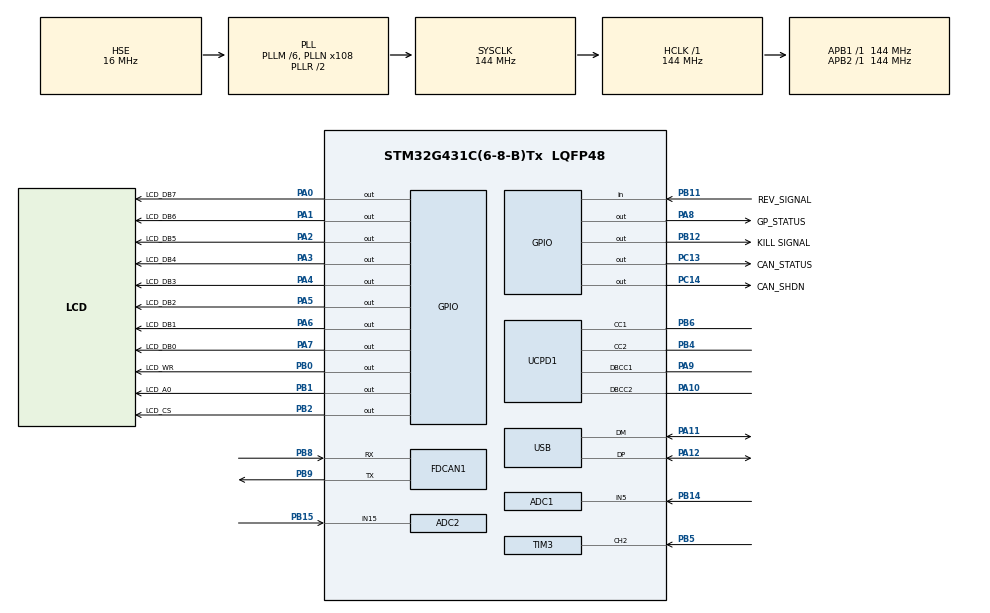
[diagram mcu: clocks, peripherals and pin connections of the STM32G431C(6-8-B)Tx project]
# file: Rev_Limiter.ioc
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ADC1.Channel-1\#ChannelRegularConversion=ADC_CHANNEL_5
ADC1.DMAContinuousRequests=ENABLE
ADC1.ExternalTrigConv=ADC_EXTERNALTRIG_T6_TRGO
ADC1.NbrOfConversionFlag=1
ADC1.OffsetNumber-1\#ChannelRegularConversion=ADC_OFFSET_NONE
ADC1.Rank-1\#ChannelRegularConversion=1
ADC1.SamplingTime-1\#ChannelRegularConversion=ADC_SAMPLETIME_2CYCLES_5
ADC1.master=1
ADC2.Channel-3\#ChannelRegularConversion=ADC_CHANNEL_15
ADC2.DMAContinuousRequests=ENABLE
ADC2.ExternalTrigConv=ADC_EXTERNALTRIG_T6_TRGO
ADC2.NbrOfConversionFlag=1
ADC2.OffsetNumber-3\#ChannelRegularConversion=ADC_OFFSET_NONE
ADC2.Rank-3\#ChannelRegularConversion=1
ADC2.SamplingTime-3\#ChannelRegularConversion=ADC_SAMPLETIME_2CYCLES_5
Dma.ADC1.0.Direction=DMA_PERIPH_TO_MEMORY
Dma.ADC1.0.EventEnable=DISABLE
Dma.ADC1.0.Instance=DMA1_Channel1
Dma.ADC1.0.MemDataAlignment=DMA_MDATAALIGN_HALFWORD
Dma.ADC1.0.MemInc=DMA_MINC_ENABLE
Dma.ADC1.0.Mode=DMA_CIRCULAR
Dma.ADC1.0.PeriphDataAlignment=DMA_PDATAALIGN_HALFWORD
Dma.ADC1.0.PeriphInc=DMA_PINC_DISABLE
Dma.ADC1.0.Polarity=HAL_DMAMUX_REQ_GEN_RISING
Dma.ADC1.0.Priority=DMA_PRIORITY_LOW
Dma.ADC1.0.RequestNumber=1
Dma.ADC1.0.SignalID=NONE
Dma.ADC1.0.SyncEnable=DISABLE
Dma.ADC1.0.SyncPolarity=HAL_DMAMUX_SYNC_NO_EVENT
Dma.ADC1.0.SyncRequestNumber=1
Dma.ADC1.0.SyncSignalID=NONE
Dma.ADC2.1.Direction=DMA_PERIPH_TO_MEMORY
Dma.ADC2.1.EventEnable=DISABLE
Dma.ADC2.1.Instance=DMA1_Channel2
Dma.ADC2.1.MemDataAlignment=DMA_MDATAALIGN_HALFWORD
Dma.ADC2.1.MemInc=DMA_MINC_ENABLE
Dma.ADC2.1.Mode=DMA_CIRCULAR
Dma.ADC2.1.PeriphDataAlignment=DMA_PDATAALIGN_HALFWORD
Dma.ADC2.1.PeriphInc=DMA_PINC_DISABLE
Dma.ADC2.1.Polarity=HAL_DMAMUX_REQ_GEN_RISING
Dma.ADC2.1.Priority=DMA_PRIORITY_LOW
Dma.ADC2.1.RequestNumber=1
Dma.ADC2.1.SignalID=NONE
Dma.ADC2.1.SyncEnable=DISABLE
Dma.ADC2.1.SyncPolarity=HAL_DMAMUX_SYNC_NO_EVENT
Dma.ADC2.1.SyncRequestNumber=1
Dma.ADC2.1.SyncSignalID=NONE
Dma.Request0=ADC1
Dma.Request1=ADC2
FDCAN1.CalculateBaudRateNominal=2999999
FDCAN1.CalculateTimeBitNominal=333
FDCAN1.CalculateTimeQuantumNominal=111.11111111111111
Mcu.Family=STM32G4
Mcu.Name=STM32G431C(6-8-B)Tx
Mcu.Package=LQFP48
NVIC.DMA1_Channel1_IRQn=true\:0\:0\:false\:false\:true\:false\:true\:true
NVIC.DMA1_Channel2_IRQn=true\:0\:0\:false\:false\:true\:false\:true\:true
NVIC.PriorityGroup=NVIC_PRIORITYGROUP_4
NVIC.TIM3_IRQn=true\:0\:0\:false\:false\:true\:true\:true\:true
PA0.GPIO_Label=LCD_DB7
PA0.Signal=GPIO_Output
PA1.GPIO_Label=LCD_DB6
PA1.Signal=GPIO_Output
PA10.Mode=EnableDeadBattery
PA10.Signal=UCPD1_DBCC2
PA11.Mode=Device
PA11.Signal=USB_DM
PA12.Mode=Device
PA12.Signal=USB_DP
PA13.Mode=Trace_Asynchronous_SW
PA13.Signal=SYS_JTMS-SWDIO
PA14.Mode=Trace_Asynchronous_SW
PA14.Signal=SYS_JTCK-SWCLK
PA2.GPIO_Label=LCD_DB5
PA2.Signal=GPIO_Output
PA3.GPIO_Label=LCD_DB4
PA3.Signal=GPIO_Output
PA4.GPIO_Label=LCD_DB3
PA4.Signal=GPIO_Output
PA5.GPIO_Label=LCD_DB2
PA5.Signal=GPIO_Output
PA6.GPIO_Label=LCD_DB1
PA6.Signal=GPIO_Output
PA7.GPIO_Label=LCD_DB0
PA7.Signal=GPIO_Output
PA8.GPIO_Label=GP_STATUS
PA8.Signal=GPIO_Output
PA9.Mode=EnableDeadBattery
PA9.Signal=UCPD1_DBCC1
PB0.GPIO_Label=LCD_WR
PB0.Signal=GPIO_Output
PB1.GPIO_Label=LCD_A0
PB1.Signal=GPIO_Output
PB11.GPIO_Label=REV_SIGNAL
PB11.Signal=GPIO_Input
PB12.GPIO_Label=KILL SIGNAL
PB12.Signal=GPIO_Output
PB14.Mode=IN5-Single-Ended
PB14.Signal=ADC1_IN5
PB15.Mode=IN15-Single-Ended
PB15.Signal=ADC2_IN15
PB2.GPIO_Label=LCD_CS
PB2.Signal=GPIO_Output
PB3.Mode=Trace_Asynchronous_SW
PB3.Signal=SYS_JTDO-SWO
PB4.Mode=Sink_AllSignals
PB4.Signal=UCPD1_CC2
PB5.Signal=S_TIM3_CH2
PB6.Mode=Sink_AllSignals
PB6.Signal=UCPD1_CC1
PB8-BOOT0.Mode=FDCAN_Activate
PB8-BOOT0.Signal=FDCAN1_RX
PB9.Mode=FDCAN_Activate
PB9.Signal=FDCAN1_TX
PC13.GPIO_Label=CAN_STATUS
PC13.Signal=GPIO_Output
PC14-OSC32_IN.GPIO_Label=CAN_SHDN
PC14-OSC32_IN.Signal=GPIO_Output
PF0-OSC_IN.Mode=HSE-External-Oscillator
PF0-OSC_IN.Signal=RCC_OSC_IN
PF1-OSC_OUT.Mode=HSE-External-Oscillator
PF1-OSC_OUT.Signal=RCC_OSC_OUT
ProjectManager.HeapSize=0x200
ProjectManager.StackSize=0x400
ProjectManager.TargetToolchain=STM32CubeIDE
RCC.ADC12Freq_Value=144000000
RCC.AHBFreq_Value=144000000
RCC.APB1Freq_Value=144000000
RCC.APB1TimFreq_Value=144000000
RCC.APB2Freq_Value=144000000
RCC.APB2TimFreq_Value=144000000
RCC.CortexFreq_Value=144000000
RCC.EXTERNAL_CLOCK_VALUE=12288000
RCC.HCLKFreq_Value=144000000
RCC.HSE_VALUE=16000000
RCC.HSI48_VALUE=48000000
RCC.HSI_VALUE=16000000
RCC.LSE_VALUE=32768
RCC.PLLM=RCC_PLLM_DIV6
RCC.PLLN=108
RCC.PLLQ=RCC_PLLQ_DIV6
RCC.PLLSourceVirtual=RCC_PLLSOURCE_HSE
RCC.SYSCLKFreq_VALUE=144000000
RCC.SYSCLKSource=RCC_SYSCLKSOURCE_PLLCLK
RCC.USBFreq_Value=48000000
RCC.VCOOutputFreq_Value=288000000
SH.S_TIM3_CH2.0=TIM3_CH2,Input_Capture2_from_TI2
TIM3.Channel-Input_Capture2_from_TI2=TIM_CHANNEL_2
TIM3.ICFilter_CH2=8
TIM3.ICPolarity_CH2=TIM_INPUTCHANNELPOLARITY_FALLING
TIM3.PeriodNoDither=65535
TIM3.Prescaler=1439
TIM3.TIM_MasterOutputTrigger=TIM_TRGO_UPDATE
TIM6.PeriodNoDither=3999
TIM6.Prescaler=14399
TIM6.TIM_MasterOutputTrigger=TIM_TRGO_UPDATE
VP_SYS_VS_DBSignals.Mode=DisableDeadBatterySignals
VP_TIM3_VS_ClockSourceINT.Mode=Internal
VP_TIM6_VS_ClockSourceINT.Mode=Enable_Timer
board=custom

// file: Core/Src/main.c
/* USER CODE BEGIN Header */
/**
  ******************************************************************************
  * @file           : main.c
  * @brief          : Main program body
  ******************************************************************************
  * @attention
  *
  * Copyright (c) 2026 STMicroelectronics.
  * All rights reserved.
  *
  * This software is licensed under terms that can be found in the LICENSE file
  * in the root directory of this software component.
  * If no LICENSE file comes with this software, it is provided AS-IS.
  *
  ******************************************************************************
  * @author Ashwin Thomas
  */
/* USER CODE END Header */
#include "main.h"

/* USER CODE BEGIN Includes */
#include <st7565_8080.h>
#include "st7565_gfx.h"
#include "battery_level_filter.h"
#include "fuel_level_filter.h"
#include "Rev_Counter.h"
/* USER CODE END Includes */

ADC_HandleTypeDef hadc1;
ADC_HandleTypeDef hadc2;
DMA_HandleTypeDef hdma_adc1;
DMA_HandleTypeDef hdma_adc2;

FDCAN_HandleTypeDef hfdcan1;

TIM_HandleTypeDef htim3;
TIM_HandleTypeDef htim6;

PCD_HandleTypeDef hpcd_USB_FS;

/* USER CODE BEGIN PV */
uint16_t fuel_level;
uint16_t fuel_bars;
uint16_t battery_level;
uint8_t battery_bars;
uint32_t engine_rpm;
/* USER CODE END PV */

void SystemClock_Config(void);
static void MX_GPIO_Init(void);
static void MX_DMA_Init(void);
static void MX_ADC1_Init(void);
static void MX_FDCAN1_Init(void);
static void MX_USB_PCD_Init(void);
static void MX_ADC2_Init(void);
static void MX_UCPD1_Init(void);
static void MX_TIM3_Init(void);
static void MX_TIM6_Init(void);

int main(void)
{

  /* USER CODE BEGIN 1 */
  SCB->VTOR = FLASH_BASE + 0x0; // set to your app's actual flash start offset
  /* USER CODE END 1 */

  /* MCU Configuration--------------------------------------------------------*/

  /* Reset of all peripherals, Initializes the Flash interface and the Systick. */
  HAL_Init();

  /* Configure the system clock */
  SystemClock_Config();

  /* Initialize all configured peripherals */
  MX_GPIO_Init();
  MX_DMA_Init();
  MX_ADC1_Init();
  MX_FDCAN1_Init();
  MX_USB_PCD_Init();
  MX_ADC2_Init();
  MX_UCPD1_Init();
  MX_TIM3_Init();
  MX_TIM6_Init();
  /* USER CODE BEGIN 2 */
  /* ADC2 must be armed before TIM6 begins issuing TRGO events. */
  BatterySensor_Init();
  FuelSensor_Init();
  /* TIM3 CH2 is PB5, configured in CubeMX for falling-edge input capture. */
  if (RevCounter_Start(&htim3, TIM_CHANNEL_2) != HAL_OK) {
    Error_Handler();
  }
  /* Display must be initialized after gpio because gpio gets reinitialized. */
  ST7565_Init(0x00);   // bus init + panel init; 0x00 is a starting contrast value, tune to taste
  uint32_t last_poll_tick = HAL_GetTick();
  uint32_t last_update_tick = HAL_GetTick();
  uint32_t last_display_tick = HAL_GetTick();
  /* USER CODE END 2 */

  /* Infinite loop */
  /* USER CODE BEGIN WHILE */
  HAL_GPIO_WritePin(GPIOA, GPIO_PIN_8, GPIO_PIN_RESET);
  HAL_GPIO_WritePin(GPIOA, GPIO_PIN_9, GPIO_PIN_RESET);
  //HAL_GPIO_WritePin(GPIOB, GPIO_PIN_12, GPIO_PIN_SET);
  //HAL_Delay(500);
  while (1)
  {
	  uint32_t now = HAL_GetTick();
	  RevCounter_Update(now);
	  engine_rpm = RevCounter_GetRPM();
	  // Poll raw ADC sample at ADC_SAMPLE_HZ
	  if (now - last_poll_tick >= (1000 / ADC_SAMPLE_HZ)) {
		  last_poll_tick = now;
		  FuelSensor_PollRawSample();
		  BatterySensor_PollRawSample();
		  // One toggle per completed poll makes this visible on an LED.
		  //HAL_GPIO_TogglePin(GPIOA, GPIO_PIN_8);
	  }
	  // Run EMA + rate limiter at EMA_UPDATE_HZ
	  if (now - last_update_tick >= (uint32_t)(1000.0f / EMA_UPDATE_HZ)) {
		  float dt_sec = (now - last_update_tick) / 1000.0f;
		  last_update_tick = now;
		  float fuel_pct = FuelSensor_Update(dt_sec);
		  float battery_pct = BatterySensor_Update(dt_sec);
		  if (battery_pct >= 0.0f) {
			  battery_level = (uint16_t)battery_pct;
			  /* Round non-zero percentages up to the 1-5 icon segment range. */
			  battery_bars = (uint8_t)((battery_level + 19U) / 20U);
		  } else {
			  battery_bars = 0U;
		  }
		  if (fuel_pct >= 0.0f) {
			  // Real reading -- safe to use/display.
			  fuel_level = (uint16_t)fuel_pct;
		      // Send it wherever it needs to go, e.g.:
		      //   - update a gauge/display driver
		      //   - pack into a CAN message and transmit
		      //   - store for a UART debug print
			  if(fuel_level >= 75) fuel_bars = 4;
			  else if(fuel_level >= 50) fuel_bars = 3;
			  else if(fuel_level>=25) fuel_bars = 2;
			  else fuel_bars = 1;
		  } else {
		      // Still warming up (first few seconds after startup) --
		      // don't display fuel_level_pct yet, or show a distinct
		      // "reading..." state on your gauge/display instead of 0%.
			  fuel_bars = 0;
		  }
		  // One toggle per completed filter update makes this visible on an LED.
		  //HAL_GPIO_TogglePin(GPIOA, GPIO_PIN_9);
	  }

	  // Keep the display refresh periodic without blocking the DMA samplers.
	  if (now - last_display_tick >= 300U) {
		  last_display_tick = now;

		  ST7565_ClearBuffer();
		  ST7565_DrawNumberScaled(0, 0, engine_rpm, 4);
		  ST7565_DrawBattery(100, 2, 20, 12, battery_bars);
		  ST7565_DrawGasGaugeEF(93, 20, 20, 12, fuel_bars);
		  ST7565_Update();	// pushes the framebuffer out over the 8080 bus
	  }
    /* USER CODE END WHILE */

  }
}

void SystemClock_Config(void)
{
  RCC_OscInitTypeDef RCC_OscInitStruct = {0};
  RCC_ClkInitTypeDef RCC_ClkInitStruct = {0};

  /** Configure the main internal regulator output voltage
  */
  HAL_PWREx_ControlVoltageScaling(PWR_REGULATOR_VOLTAGE_SCALE1);

  /** Initializes the RCC Oscillators according to the specified parameters
  * in the RCC_OscInitTypeDef structure.
  */
  RCC_OscInitStruct.OscillatorType = RCC_OSCILLATORTYPE_HSI|RCC_OSCILLATORTYPE_HSE;
  RCC_OscInitStruct.HSEState = RCC_HSE_ON;
  RCC_OscInitStruct.HSIState = RCC_HSI_ON;
  RCC_OscInitStruct.HSICalibrationValue = RCC_HSICALIBRATION_DEFAULT;
  RCC_OscInitStruct.PLL.PLLState = RCC_PLL_ON;
  RCC_OscInitStruct.PLL.PLLSource = RCC_PLLSOURCE_HSE;
  RCC_OscInitStruct.PLL.PLLM = RCC_PLLM_DIV6;
  RCC_OscInitStruct.PLL.PLLN = 108;
  RCC_OscInitStruct.PLL.PLLP = RCC_PLLP_DIV2;
  RCC_OscInitStruct.PLL.PLLQ = RCC_PLLQ_DIV6;
  RCC_OscInitStruct.PLL.PLLR = RCC_PLLR_DIV2;
  if (HAL_RCC_OscConfig(&RCC_OscInitStruct) != HAL_OK)
  {
    Error_Handler();
  }

  /** Initializes the CPU, AHB and APB buses clocks
  */
  RCC_ClkInitStruct.ClockType = RCC_CLOCKTYPE_HCLK|RCC_CLOCKTYPE_SYSCLK
                              |RCC_CLOCKTYPE_PCLK1|RCC_CLOCKTYPE_PCLK2;
  RCC_ClkInitStruct.SYSCLKSource = RCC_SYSCLKSOURCE_PLLCLK;
  RCC_ClkInitStruct.AHBCLKDivider = RCC_SYSCLK_DIV1;
  RCC_ClkInitStruct.APB1CLKDivider = RCC_HCLK_DIV1;
  RCC_ClkInitStruct.APB2CLKDivider = RCC_HCLK_DIV1;

  if (HAL_RCC_ClockConfig(&RCC_ClkInitStruct, FLASH_LATENCY_4) != HAL_OK)
  {
    Error_Handler();
  }
}

static void MX_ADC1_Init(void)
{

  ADC_MultiModeTypeDef multimode = {0};
  ADC_ChannelConfTypeDef sConfig = {0};

  /** Common config
  */
  hadc1.Instance = ADC1;
  hadc1.Init.ClockPrescaler = ADC_CLOCK_SYNC_PCLK_DIV4;
  hadc1.Init.Resolution = ADC_RESOLUTION_12B;
  hadc1.Init.DataAlign = ADC_DATAALIGN_RIGHT;
  hadc1.Init.GainCompensation = 0;
  hadc1.Init.ScanConvMode = ADC_SCAN_DISABLE;
  hadc1.Init.EOCSelection = ADC_EOC_SINGLE_CONV;
  hadc1.Init.LowPowerAutoWait = DISABLE;
  hadc1.Init.ContinuousConvMode = DISABLE;
  hadc1.Init.NbrOfConversion = 1;
  hadc1.Init.DiscontinuousConvMode = DISABLE;
  hadc1.Init.ExternalTrigConv = ADC_EXTERNALTRIG_T6_TRGO;
  hadc1.Init.ExternalTrigConvEdge = ADC_EXTERNALTRIGCONVEDGE_RISING;
  hadc1.Init.DMAContinuousRequests = ENABLE;
  hadc1.Init.Overrun = ADC_OVR_DATA_PRESERVED;
  hadc1.Init.OversamplingMode = DISABLE;
  if (HAL_ADC_Init(&hadc1) != HAL_OK)
  {
    Error_Handler();
  }

  /** Configure the ADC multi-mode
  */
  multimode.Mode = ADC_MODE_INDEPENDENT;
  if (HAL_ADCEx_MultiModeConfigChannel(&hadc1, &multimode) != HAL_OK)
  {
    Error_Handler();
  }

  /** Configure Regular Channel
  */
  sConfig.Channel = ADC_CHANNEL_5;
  sConfig.Rank = ADC_REGULAR_RANK_1;
  sConfig.SamplingTime = ADC_SAMPLETIME_2CYCLES_5;
  sConfig.SingleDiff = ADC_SINGLE_ENDED;
  sConfig.OffsetNumber = ADC_OFFSET_NONE;
  sConfig.Offset = 0;
  if (HAL_ADC_ConfigChannel(&hadc1, &sConfig) != HAL_OK)
  {
    Error_Handler();
  }

}

static void MX_ADC2_Init(void)
{

  ADC_ChannelConfTypeDef sConfig = {0};

  /** Common config
  */
  hadc2.Instance = ADC2;
  hadc2.Init.ClockPrescaler = ADC_CLOCK_SYNC_PCLK_DIV4;
  hadc2.Init.Resolution = ADC_RESOLUTION_12B;
  hadc2.Init.DataAlign = ADC_DATAALIGN_RIGHT;
  hadc2.Init.GainCompensation = 0;
  hadc2.Init.ScanConvMode = ADC_SCAN_DISABLE;
  hadc2.Init.EOCSelection = ADC_EOC_SINGLE_CONV;
  hadc2.Init.LowPowerAutoWait = DISABLE;
  hadc2.Init.ContinuousConvMode = DISABLE;
  hadc2.Init.NbrOfConversion = 1;
  hadc2.Init.DiscontinuousConvMode = DISABLE;
  hadc2.Init.ExternalTrigConv = ADC_EXTERNALTRIG_T6_TRGO;
  hadc2.Init.ExternalTrigConvEdge = ADC_EXTERNALTRIGCONVEDGE_RISING;
  hadc2.Init.DMAContinuousRequests = ENABLE;
  hadc2.Init.Overrun = ADC_OVR_DATA_PRESERVED;
  hadc2.Init.OversamplingMode = DISABLE;
  if (HAL_ADC_Init(&hadc2) != HAL_OK)
  {
    Error_Handler();
  }

  /** Configure Regular Channel
  */
  sConfig.Channel = ADC_CHANNEL_15;
  sConfig.Rank = ADC_REGULAR_RANK_1;
  sConfig.SamplingTime = ADC_SAMPLETIME_2CYCLES_5;
  sConfig.SingleDiff = ADC_SINGLE_ENDED;
  sConfig.OffsetNumber = ADC_OFFSET_NONE;
  sConfig.Offset = 0;
  if (HAL_ADC_ConfigChannel(&hadc2, &sConfig) != HAL_OK)
  {
    Error_Handler();
  }

}

static void MX_FDCAN1_Init(void)
{

  hfdcan1.Instance = FDCAN1;
  hfdcan1.Init.ClockDivider = FDCAN_CLOCK_DIV1;
  hfdcan1.Init.FrameFormat = FDCAN_FRAME_CLASSIC;
  hfdcan1.Init.Mode = FDCAN_MODE_NORMAL;
  hfdcan1.Init.AutoRetransmission = DISABLE;
  hfdcan1.Init.TransmitPause = DISABLE;
  hfdcan1.Init.ProtocolException = DISABLE;
  hfdcan1.Init.NominalPrescaler = 16;
  hfdcan1.Init.NominalSyncJumpWidth = 1;
  hfdcan1.Init.NominalTimeSeg1 = 1;
  hfdcan1.Init.NominalTimeSeg2 = 1;
  hfdcan1.Init.DataPrescaler = 1;
  hfdcan1.Init.DataSyncJumpWidth = 1;
  hfdcan1.Init.DataTimeSeg1 = 1;
  hfdcan1.Init.DataTimeSeg2 = 1;
  hfdcan1.Init.StdFiltersNbr = 0;
  hfdcan1.Init.ExtFiltersNbr = 0;
  hfdcan1.Init.TxFifoQueueMode = FDCAN_TX_FIFO_OPERATION;
  if (HAL_FDCAN_Init(&hfdcan1) != HAL_OK)
  {
    Error_Handler();
  }

}

static void MX_TIM3_Init(void)
{

  TIM_ClockConfigTypeDef sClockSourceConfig = {0};
  TIM_MasterConfigTypeDef sMasterConfig = {0};
  TIM_IC_InitTypeDef sConfigIC = {0};

  htim3.Instance = TIM3;
  htim3.Init.Prescaler = 1439;
  htim3.Init.CounterMode = TIM_COUNTERMODE_UP;
  htim3.Init.Period = 65535;
  htim3.Init.ClockDivision = TIM_CLOCKDIVISION_DIV1;
  htim3.Init.AutoReloadPreload = TIM_AUTORELOAD_PRELOAD_DISABLE;
  if (HAL_TIM_Base_Init(&htim3) != HAL_OK)
  {
    Error_Handler();
  }
  sClockSourceConfig.ClockSource = TIM_CLOCKSOURCE_INTERNAL;
  if (HAL_TIM_ConfigClockSource(&htim3, &sClockSourceConfig) != HAL_OK)
  {
    Error_Handler();
  }
  if (HAL_TIM_IC_Init(&htim3) != HAL_OK)
  {
    Error_Handler();
  }
  sMasterConfig.MasterOutputTrigger = TIM_TRGO_UPDATE;
  sMasterConfig.MasterSlaveMode = TIM_MASTERSLAVEMODE_DISABLE;
  if (HAL_TIMEx_MasterConfigSynchronization(&htim3, &sMasterConfig) != HAL_OK)
  {
    Error_Handler();
  }
  sConfigIC.ICPolarity = TIM_INPUTCHANNELPOLARITY_FALLING;
  sConfigIC.ICSelection = TIM_ICSELECTION_DIRECTTI;
  sConfigIC.ICPrescaler = TIM_ICPSC_DIV1;
  sConfigIC.ICFilter = 8;
  if (HAL_TIM_IC_ConfigChannel(&htim3, &sConfigIC, TIM_CHANNEL_2) != HAL_OK)
  {
    Error_Handler();
  }

}

static void MX_TIM6_Init(void)
{

  TIM_MasterConfigTypeDef sMasterConfig = {0};

  htim6.Instance = TIM6;
  htim6.Init.Prescaler = 14399;
  htim6.Init.CounterMode = TIM_COUNTERMODE_UP;
  htim6.Init.Period = 3999;
  htim6.Init.AutoReloadPreload = TIM_AUTORELOAD_PRELOAD_DISABLE;
  if (HAL_TIM_Base_Init(&htim6) != HAL_OK)
  {
    Error_Handler();
  }
  sMasterConfig.MasterOutputTrigger = TIM_TRGO_UPDATE;
  sMasterConfig.MasterSlaveMode = TIM_MASTERSLAVEMODE_DISABLE;
  if (HAL_TIMEx_MasterConfigSynchronization(&htim6, &sMasterConfig) != HAL_OK)
  {
    Error_Handler();
  }

}

static void MX_UCPD1_Init(void)
{

  LL_GPIO_InitTypeDef GPIO_InitStruct = {0};

  /* Peripheral clock enable */
  LL_APB1_GRP2_EnableClock(LL_APB1_GRP2_PERIPH_UCPD1);

  LL_AHB2_GRP1_EnableClock(LL_AHB2_GRP1_PERIPH_GPIOB);
  /**UCPD1 GPIO Configuration
  PB4   ------> UCPD1_CC2
  PB6   ------> UCPD1_CC1
  */
  GPIO_InitStruct.Pin = LL_GPIO_PIN_4;
  GPIO_InitStruct.Mode = LL_GPIO_MODE_ANALOG;
  GPIO_InitStruct.Pull = LL_GPIO_PULL_NO;
  LL_GPIO_Init(GPIOB, &GPIO_InitStruct);

  GPIO_InitStruct.Pin = LL_GPIO_PIN_6;
  GPIO_InitStruct.Mode = LL_GPIO_MODE_ANALOG;
  GPIO_InitStruct.Pull = LL_GPIO_PULL_NO;
  LL_GPIO_Init(GPIOB, &GPIO_InitStruct);

}

static void MX_USB_PCD_Init(void)
{

  hpcd_USB_FS.Instance = USB;
  hpcd_USB_FS.Init.dev_endpoints = 8;
  hpcd_USB_FS.Init.speed = PCD_SPEED_FULL;
  hpcd_USB_FS.Init.phy_itface = PCD_PHY_EMBEDDED;
  hpcd_USB_FS.Init.Sof_enable = DISABLE;
  hpcd_USB_FS.Init.low_power_enable = DISABLE;
  hpcd_USB_FS.Init.lpm_enable = DISABLE;
  hpcd_USB_FS.Init.battery_charging_enable = DISABLE;
  if (HAL_PCD_Init(&hpcd_USB_FS) != HAL_OK)
  {
    Error_Handler();
  }

}

static void MX_DMA_Init(void)
{

  /* DMA controller clock enable */
  __HAL_RCC_DMAMUX1_CLK_ENABLE();
  __HAL_RCC_DMA1_CLK_ENABLE();

  /* DMA interrupt init */
  /* DMA1_Channel1_IRQn interrupt configuration */
  HAL_NVIC_SetPriority(DMA1_Channel1_IRQn, 0, 0);
  HAL_NVIC_EnableIRQ(DMA1_Channel1_IRQn);
  /* DMA1_Channel2_IRQn interrupt configuration */
  HAL_NVIC_SetPriority(DMA1_Channel2_IRQn, 0, 0);
  HAL_NVIC_EnableIRQ(DMA1_Channel2_IRQn);

}

static void MX_GPIO_Init(void)
{
  GPIO_InitTypeDef GPIO_InitStruct = {0};

  /* GPIO Ports Clock Enable */
  __HAL_RCC_GPIOC_CLK_ENABLE();
  __HAL_RCC_GPIOF_CLK_ENABLE();
  __HAL_RCC_GPIOA_CLK_ENABLE();
  __HAL_RCC_GPIOB_CLK_ENABLE();

  /*Configure GPIO pin Output Level */
  HAL_GPIO_WritePin(GPIOC, CAN_STATUS_Pin|CAN_SHDN_Pin, GPIO_PIN_RESET);

  /*Configure GPIO pin Output Level */
  HAL_GPIO_WritePin(GPIOA, LCD_DB7_Pin|LCD_DB6_Pin|LCD_DB5_Pin|LCD_DB4_Pin
                          |LCD_DB3_Pin|LCD_DB2_Pin|LCD_DB1_Pin|LCD_DB0_Pin
                          |GP_STATUS_Pin, GPIO_PIN_RESET);

  /*Configure GPIO pin Output Level */
  HAL_GPIO_WritePin(GPIOB, LCD_WR_Pin|LCD_A0_Pin|LCD_CS_Pin|KILL_SIGNAL_Pin, GPIO_PIN_RESET);

  /*Configure GPIO pins : CAN_STATUS_Pin CAN_SHDN_Pin */
  GPIO_InitStruct.Pin = CAN_STATUS_Pin|CAN_SHDN_Pin;
  GPIO_InitStruct.Mode = GPIO_MODE_OUTPUT_PP;
  GPIO_InitStruct.Pull = GPIO_NOPULL;
  GPIO_InitStruct.Speed = GPIO_SPEED_FREQ_LOW;
  HAL_GPIO_Init(GPIOC, &GPIO_InitStruct);

  /*Configure GPIO pins : LCD_DB7_Pin LCD_DB6_Pin LCD_DB5_Pin LCD_DB4_Pin
                           LCD_DB3_Pin LCD_DB2_Pin LCD_DB1_Pin LCD_DB0_Pin
                           GP_STATUS_Pin */
  GPIO_InitStruct.Pin = LCD_DB7_Pin|LCD_DB6_Pin|LCD_DB5_Pin|LCD_DB4_Pin
                          |LCD_DB3_Pin|LCD_DB2_Pin|LCD_DB1_Pin|LCD_DB0_Pin
                          |GP_STATUS_Pin;
  GPIO_InitStruct.Mode = GPIO_MODE_OUTPUT_PP;
  GPIO_InitStruct.Pull = GPIO_NOPULL;
  GPIO_InitStruct.Speed = GPIO_SPEED_FREQ_LOW;
  HAL_GPIO_Init(GPIOA, &GPIO_InitStruct);

  /*Configure GPIO pins : LCD_WR_Pin LCD_A0_Pin LCD_CS_Pin KILL_SIGNAL_Pin */
  GPIO_InitStruct.Pin = LCD_WR_Pin|LCD_A0_Pin|LCD_CS_Pin|KILL_SIGNAL_Pin;
  GPIO_InitStruct.Mode = GPIO_MODE_OUTPUT_PP;
  GPIO_InitStruct.Pull = GPIO_NOPULL;
  GPIO_InitStruct.Speed = GPIO_SPEED_FREQ_LOW;
  HAL_GPIO_Init(GPIOB, &GPIO_InitStruct);

  /*Configure GPIO pin : REV_SIGNAL_Pin */
  GPIO_InitStruct.Pin = REV_SIGNAL_Pin;
  GPIO_InitStruct.Mode = GPIO_MODE_INPUT;
  GPIO_InitStruct.Pull = GPIO_NOPULL;
  HAL_GPIO_Init(REV_SIGNAL_GPIO_Port, &GPIO_InitStruct);

  /* USER CODE BEGIN MX_GPIO_Init_2 */
  GPIO_InitStruct.Pin = GPIO_PIN_9;
  GPIO_InitStruct.Mode = GPIO_MODE_OUTPUT_PP;
  GPIO_InitStruct.Pull = GPIO_NOPULL;
  GPIO_InitStruct.Speed = GPIO_SPEED_FREQ_LOW;
  HAL_GPIO_Init(GPIOA, &GPIO_InitStruct);

  /* USER CODE END MX_GPIO_Init_2 */
}

/* USER CODE BEGIN 4 */
/* Called by HAL_TIM_IRQHandler() from TIM3_IRQHandler(). */
void HAL_TIM_IC_CaptureCallback(TIM_HandleTypeDef *htim)
{
  RevCounter_OnEveryOtherCapture(htim);
  //RevCounter_OnCapture(htim);
}
/* USER CODE END 4 */

void Error_Handler(void)
{
  __disable_irq();
  while (1)
  {
  }
}
